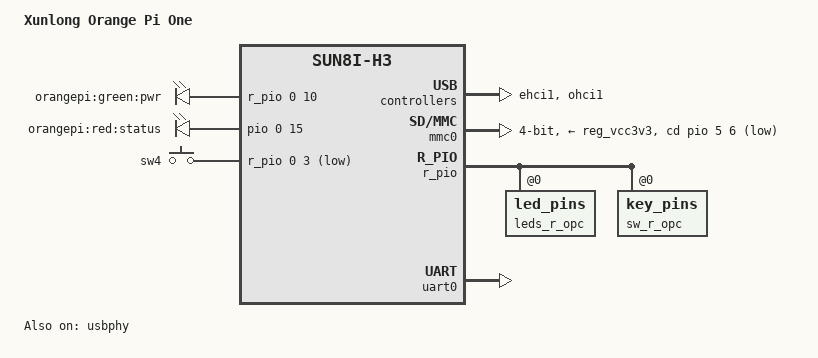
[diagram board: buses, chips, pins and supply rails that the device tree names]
/*
 * Copyright (C) 2016 Hans de Goede <hdegoede@redhat.com>
 *
 * This file is dual-licensed: you can use it either under the terms
 * of the GPL or the X11 license, at your option. Note that this dual
 * licensing only applies to this file, and not this project as a
 * whole.
 *
 *  a) This file is free software; you can redistribute it and/or
 *     modify it under the terms of the GNU General Public License as
 *     published by the Free Software Foundation; either version 2 of the
 *     License, or (at your option) any later version.
 *
 *     This file is distributed in the hope that it will be useful,
 *     but WITHOUT ANY WARRANTY; without even the implied warranty of
 *     MERCHANTABILITY or FITNESS FOR A PARTICULAR PURPOSE.  See the
 *     GNU General Public License for more details.
 *
 * Or, alternatively,
 *
 *  b) Permission is hereby granted, free of charge, to any person
 *     obtaining a copy of this software and associated documentation
 *     files (the "Software"), to deal in the Software without
 *     restriction, including without limitation the rights to use,
 *     copy, modify, merge, publish, distribute, sublicense, and/or
 *     sell copies of the Software, and to permit persons to whom the
 *     Software is furnished to do so, subject to the following
 *     conditions:
 *
 *     The above copyright notice and this permission notice shall be
 *     included in all copies or substantial portions of the Software.
 *
 *     THE SOFTWARE IS PROVIDED "AS IS", WITHOUT WARRANTY OF ANY KIND,
 *     EXPRESS OR IMPLIED, INCLUDING BUT NOT LIMITED TO THE WARRANTIES
 *     OF MERCHANTABILITY, FITNESS FOR A PARTICULAR PURPOSE AND
 *     NONINFRINGEMENT. IN NO EVENT SHALL THE AUTHORS OR COPYRIGHT
 *     HOLDERS BE LIABLE FOR ANY CLAIM, DAMAGES OR OTHER LIABILITY,
 *     WHETHER IN AN ACTION OF CONTRACT, TORT OR OTHERWISE, ARISING
 *     FROM, OUT OF OR IN CONNECTION WITH THE SOFTWARE OR THE USE OR
 *     OTHER DEALINGS IN THE SOFTWARE.
 */

/dts-v1/;
#include "sun8i-h3.dtsi"
#include "sunxi-common-regulators.dtsi"

#include <dt-bindings/gpio/gpio.h>
#include <dt-bindings/input/input.h>
#include <dt-bindings/pinctrl/sun4i-a10.h>

/ {
	model = "Xunlong Orange Pi One";
	compatible = "xunlong,orangepi-one", "allwinner,sun8i-h3";

	aliases {
		serial0 = &uart0;
	};

	chosen {
		stdout-path = "serial0:115200n8";
	};

	leds {
		compatible = "gpio-leds";
		pinctrl-names = "default";
		pinctrl-0 = <&leds_opc>, <&leds_r_opc>;

		pwr_led {
			label = "orangepi:green:pwr";
			gpios = <&r_pio 0 10 GPIO_ACTIVE_HIGH>;
			default-state = "on";
		};

		status_led {
			label = "orangepi:red:status";
			gpios = <&pio 0 15 GPIO_ACTIVE_HIGH>;
		};
	};

	r_gpio_keys {
		compatible = "gpio-keys";
		pinctrl-names = "default";
		pinctrl-0 = <&sw_r_opc>;

		sw4 {
			label = "sw4";
			linux,code = <BTN_0>;
			gpios = <&r_pio 0 3 GPIO_ACTIVE_LOW>;
		};
	};
};

&ehci1 {
	status = "okay";
};

&mmc0 {
	pinctrl-names = "default";
	pinctrl-0 = <&mmc0_pins_a>, <&mmc0_cd_pin>;
	vmmc-supply = <&reg_vcc3v3>;
	bus-width = <4>;
	cd-gpios = <&pio 5 6 GPIO_ACTIVE_HIGH>; /* PF6 */
	cd-inverted;
	status = "okay";
};

&ohci1 {
	status = "okay";
};

&pio {
	leds_opc: led_pins@0 {
		allwinner,pins = "PA15";
		allwinner,function = "gpio_out";
		allwinner,drive = <SUN4I_PINCTRL_10_MA>;
		allwinner,pull = <SUN4I_PINCTRL_NO_PULL>;
	};
};

&r_pio {
	leds_r_opc: led_pins@0 {
		allwinner,pins = "PL10";
		allwinner,function = "gpio_out";
		allwinner,drive = <SUN4I_PINCTRL_10_MA>;
		allwinner,pull = <SUN4I_PINCTRL_NO_PULL>;
	};

	sw_r_opc: key_pins@0 {
		allwinner,pins = "PL3";
		allwinner,function = "gpio_in";
		allwinner,drive = <SUN4I_PINCTRL_10_MA>;
		allwinner,pull = <SUN4I_PINCTRL_NO_PULL>;
	};
};

&uart0 {
	pinctrl-names = "default";
	pinctrl-0 = <&uart0_pins_a>;
	status = "okay";
};

&usbphy {
	/* USB VBUS is always on */
	status = "okay";
};
